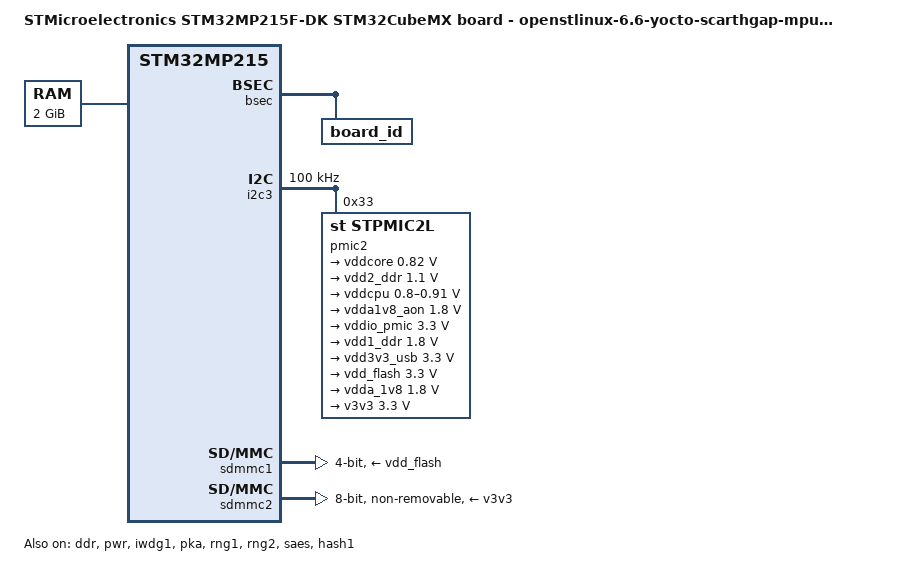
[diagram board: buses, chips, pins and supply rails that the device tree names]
/dts-v1/;
#include <dt-bindings/pinctrl/stm32-pinfunc.h>
#include <dt-bindings/clock/stm32mp21-clksrc.h>
#include "stm32mp21-mx.dtsi"
#include "stm32mp215.dtsi"
#include "stm32mp21xf.dtsi"
#include "stm32mp215f-board_215f-dk_m33td-mx-rcc.dtsi"
#include "stm32mp25-ddr.dtsi"

/* USER CODE BEGIN includes */
#include "stm32mp21-pinctrl.dtsi"
/* USER CODE END includes */

/{
	model = "STMicroelectronics STM32MP215F-DK STM32CubeMX board - openstlinux-6.6-yocto-scarthgap-mpu-v25.01.03";
	compatible = "st,stm32mp215f-board_215f-dk_m33td-mx", "st,stm32mp215f-dk", "st,stm32mp215";

	/* USER CODE BEGIN root */

	aliases{
		serial0 = &usart2;
	};

	chosen{
		stdout-path = "serial0:115200n8";
	};

	shadow-prov{
		compatible = "st,provisioning";

		hconf1_prov{
			nvmem-cells = <&hconf1_otp>;
			st,shadow-value = <0x00008000>;
		};
	};
	/* USER CODE END root */

	memory@80000000{
		device_type = "memory";
		reg = <0x0 0x80000000 0x0 0x80000000>;
	};
};

&pinctrl {
	/* USER CODE BEGIN pinctrl */
	/* USER CODE END pinctrl */
};

&pinctrl_z {

	i2c3_pins_z_mx:i2c3_mx-0{

		pins{
			pinmux = <STM32_PINMUX('Z', 0, AF8)>,
					<STM32_PINMUX('Z', 1, AF8)>;
			bias-disable;
			drive-open-drain;
			slew-rate = <0>;
		};
	};
};

&bsec {
	status = "okay";

	/* USER CODE BEGIN bsec */

	board_id:board_id@3d8{
		reg = <0x3d8 0x4>;
	};
	/* USER CODE END bsec */
};
&ddr {
	status = "okay";

	/* USER CODE BEGIN ddr */
	vdd1-supply = <&vdd1_ddr>;
	vdd2-supply = <&vdd2_ddr>;
	vddq-supply = <&vdd2_ddr>;
	/* USER CODE END ddr */
};


&i2c3 {
	pinctrl-names = "default", "sleep";
	pinctrl-0 = <&i2c3_pins_z_mx>;
	pinctrl-1 = <&i2c3_sleep_pins_z_mx>;
	status = "okay";

	/* USER CODE BEGIN i2c3 */
	i2c-scl-rising-time-ns = <185>;
	i2c-scl-falling-time-ns = <20>;
	clock-frequency = <100000>;
	#address-cells = <1>;
	#size-cells = <0>;

	pmic2:pmic@33{
		compatible = "st,stpmic2l";
		reg = <0x33>;
		status = "okay";

		regulators{
			compatible = "st,stpmic2-regulators";

			vddcore:buck1{
				regulator-name = "vddcore";
				regulator-min-microvolt = <820000>;
				regulator-max-microvolt = <820000>;
				regulator-always-on;
			};

			vdd2_ddr:buck2{
				regulator-name = "vdd2_ddr";
				regulator-min-microvolt = <1100000>;
				regulator-max-microvolt = <1100000>;
			};

			vddcpu:buck3{
				regulator-name = "vddcpu";
				regulator-min-microvolt = <800000>;
				regulator-max-microvolt = <910000>;
				regulator-always-on;
			};

			vdda1v8_aon:ldo1{
				regulator-name = "vdda1v8_aon";
				regulator-min-microvolt = <1800000>;
				regulator-max-microvolt = <1800000>;
				regulator-always-on;
				st,mask-reset;
			};

			vddio_pmic:ldo2{
				regulator-name = "vddio_pmic";
				regulator-min-microvolt = <3300000>;
				regulator-max-microvolt = <3300000>;
				regulator-always-on;
				st,mask-reset;
			};

			vdd1_ddr:ldo3{
				regulator-name = "vdd1_ddr";
				regulator-min-microvolt = <1800000>;
				regulator-max-microvolt = <1800000>;
			};

			vdd3v3_usb:ldo4{
				regulator-name = "vdd3v3_usb";
				regulator-min-microvolt = <3300000>;
				regulator-max-microvolt = <3300000>;
			};

			vdd_flash:ldo5{
				regulator-name = "vdd_flash";
				regulator-min-microvolt = <3300000>;
				regulator-max-microvolt = <3300000>;
			};

			vdda_1v8:ldo6{
				regulator-name = "vdda_1v8";
				regulator-min-microvolt = <1800000>;
				regulator-max-microvolt = <1800000>;
				regulator-always-on;
			};

			v3v3:gpo1{
				regulator-name = "v3v3";
				regulator-min-microvolt = <3300000>;
				regulator-max-microvolt = <3300000>;
				regulator-always-on;
			};
		};
	};
	/* USER CODE END i2c3 */
};

&pwr {
	status = "okay";

	/* USER CODE BEGIN pwr */
	vddio1{
		vddio1-supply = <&vddio_pmic>;
	};

	vddio2{
		vddio2-supply = <&vdda_1v8>;
	};

	vddio3{
		vddio3-supply = <&vddio_pmic>;
	};

	vddio{
		vdd-supply = <&vddio_pmic>;
	};
	/* USER CODE END pwr */
};

&iwdg1 {
	status = "okay";

	/* USER CODE BEGIN iwdg1 */
	timeout-sec = <32>;
	/* USER CODE END iwdg1 */
};

&pka {
	status = "okay";
};

&rng1 {
	status = "okay";
};

&rng2 {
	status = "okay";
};

&saes {
	status = "okay";
};

/* USER CODE BEGIN addons */

&hash1 {
	status = "okay";
};

&sdmmc1 {
	pinctrl-names = "default";
	pinctrl-0 = <&sdmmc1_b4_pins_a>;
	st,neg-edge;
	bus-width = <4>;
	vmmc-supply = <&vdd_flash>;
	vqmmc-supply = <&vddio1>;
	status = "okay";
};

&sdmmc2 {
	pinctrl-names = "default";
	pinctrl-0 = <&sdmmc2_b4_pins_a &sdmmc2_d47_pins_a>;
	non-removable;
	no-sd;
	no-sdio;
	st,neg-edge;
	bus-width = <8>;
	vmmc-supply = <&v3v3>;
	vqmmc-supply = <&vddio2>;
	status = "okay";
};
/* USER CODE END addons */
